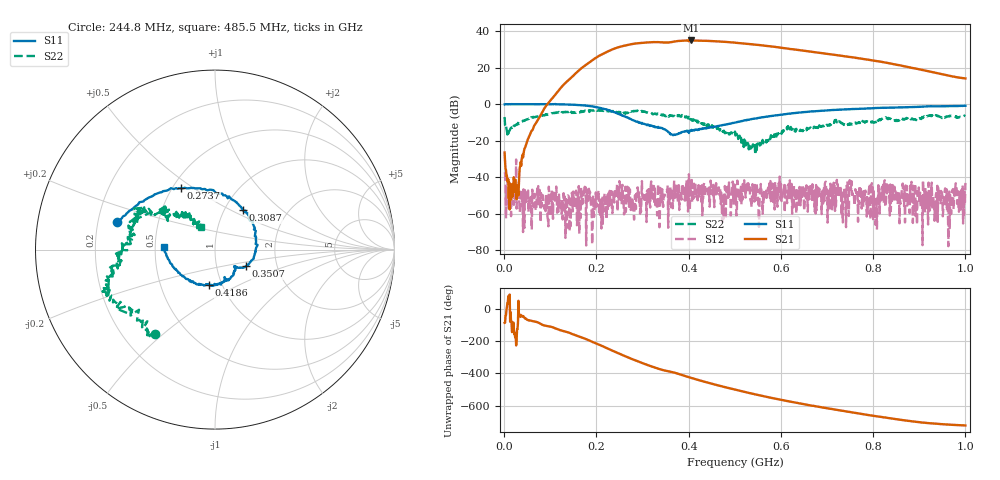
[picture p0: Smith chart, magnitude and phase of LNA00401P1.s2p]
! Created with skrf 1.9.0 (http://scikit-rf.org).
# Hz S RI R 50.0
!freq ReS11 ImS11 ReS21 ImS21 ReS12 ImS12 ReS22 ImS22
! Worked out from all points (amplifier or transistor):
!   1001 points, 1 MHz to 1 GHz, reference 50 ohm
!   highest |S21| = 34.9 dB at 404.6 MHz (marker M1)
!   |S21| within 3 dB of that: 257.8 MHz to 569 MHz (311.2 MHz wide, 75.3 % of centre)
!   unconditionally stable (mu >= 1): 186.1 MHz to 228.7 MHz; 318.8 MHz to 400.3 MHz; 406.6 MHz to end of sweep (the widest 3 of 45)
!   at 166.8 MHz: K = 0.08, MSG = 32.4 dB, |S12| = -45.3 dB
!   at 500.5 MHz: K = 1.64, MAG = 34.4 dB, |S12| = -44.4 dB
!   at 1 GHz: K = 1.92, MAG = 23.1 dB, |S12| = -43.2 dB
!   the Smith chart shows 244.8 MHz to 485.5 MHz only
!   S11 on the Smith chart (normalised r, x): 244.8 MHz: 0.28, +0.12; 273.7 MHz: 0.55, +0.44; 308.7 MHz: 1.22, +0.58; 350.6 MHz: 1.39, -0.27; 418.6 MHz: 0.87, -0.36; 485.5 MHz: 0.56, +0.02
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1000000  0.9826 0.00621  0.00342 -0.0473  -0.0129 -0.00448  0.3428 0.2854
1.08892e8  0.5345 -0.8434  -0.7908 -1.5  -6.02e-05 -0.00404  0.4205 -0.3821
1.67833e8  -0.21 -0.9099  -9.739 -0.6496  -0.000672 -0.00165  0.0319 -0.6255
2.11789e8  -0.6705 -0.3776  -15.31 17.55  -0.00137 -0.00168  -0.2127 -0.6318
2.44756e8  -0.5484 0.1512  0.6402 35.52  -0.00415 0.00478  -0.3327 -0.4689
2.73727e8  -0.1917 0.342  26.24 34.87  -0.00134 0.000574  -0.5465 -0.3195
3.08692e8  0.1554 0.2217  47.66 12.57  0.000575 0.000114  -0.5706 -0.1502
3.34666e8  0.229 0.00908  49.33 -9.297  0.00294 0.00167  -0.5357 -0.0459
3.5065e8  0.1721 -0.0931  44.92 -19.58  -0.00271 0.00343  -0.4743 0.0597
3.76624e8  0.1118 -0.1035  40.51 -35.55  -0.00167 0.00119  -0.4283 0.1881
4.04596e8  0.0412 -0.1841  22.06 -51.33  -0.000379 0.00323  -0.3369 0.1927
4.18582e8  -0.032 -0.1978  11.18 -54.14  0.00365 0.0023  -0.2622 0.179
4.49551e8  -0.1808 -0.1491  -12.15 -52.31  0.00208 0.00468  -0.1549 0.1771
4.85515e8  -0.2837 0.0132  -31.95 -38.89  0.00259 -0.000791  -0.0798 0.1268
5.005e8  -0.2985 0.089  -37.54 -31.22  -0.00542 0.00256  -0.0998 0.1465
5.4046e8  -0.2488 0.313  -42.18 -9.79  0.00265 0.000996  -0.0706 -0.00294
5.88412e8  -0.0599 0.4873  -35.38 10.71  0.00169 -0.00272  -0.1162 -0.0903
6.67333e8  0.316 0.5451  -13.77 23.47  0.00114 -0.00207  -0.2245 -0.0591
7.53247e8  0.6274 0.3813  3.707 19  -0.00236 -0.00739  -0.2899 -0.0198
8.34166e8  0.788 0.1553  9.672 9.123  0.00462 -0.00182  -0.397 0.0212
9.09091e8  0.8546 -0.0969  8.242 2.176  0.00177 -4.82e-05  -0.3846 0.2127
1e9  0.8219 -0.3747  5.081 -0.2162  -0.00693 0.000329  -0.2897 0.368
